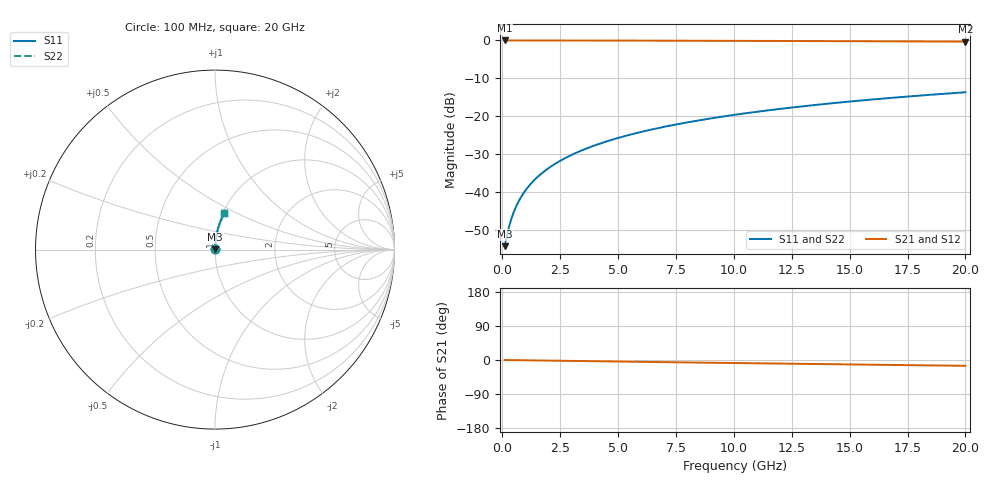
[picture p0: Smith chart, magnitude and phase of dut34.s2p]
! Touchstone file exported from HFSS 2024.1.0
!  File:  C:/UserFiles/LocalFiles/RDL_TSV_Batchsim/temp_RDL_top_34_1778680710.aedt
!  Generated:  10:00:57 PM May 13, 2026
!  Design:  RDL_top
!  Project:  temp_RDL_top_34_1778680710
!  Setup:  Setup1
!  Solution:  Sweep
! Variables:
!  dtsv = 10.80580581um
!  hbump = 3um
!  htsv = 96.11um
!  ldown = 100um
!  lrdl = 152.65um
!  p = 40
!  p1 = 47.12um
!  rhole = 1um
!  t = 450um
!  tdown = 3.915915916um
!  trdl = 3.24um
!  wdown = 15.38538539um
!  wrdl = 11.3um
# GHz S MA R 50.000000
! Terminal data exported
! Port[1] = Box2_T1
! Port[2] = Box2_T2
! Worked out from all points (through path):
!   200 points, 100 MHz to 20 GHz, reference 50 ohm
!   highest |S21| = -0.01 dB at 100 MHz (marker M1); lowest = -0.3 dB at 20 GHz (marker M2)
!   group delay of S21, straight-line fit = 2.13 ps
!   lowest |S11| = -54.1 dB at 100 MHz (marker M3), VSWR 1.00, Z = 50.2 + j0.107 ohm
!   |S11| at or under -10 dB: start of sweep to end of sweep
!   |S22| runs from -54.1 to -13.6 dB; largest |S21 - S12| = 2.7e-15
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0.1  0.001964 33.0  0.9984 -0.1  0.9984 -0.1  0.001964 33.0
! Gamma 0 0 0 0
! Port Impedance 50 0 50 0
0.2  0.002708 52.1  0.9983 -0.2  0.9983 -0.2  0.002708 52.1
0.3  0.003613 62.1  0.9983 -0.3  0.9983 -0.3  0.003613 62.1
0.4  0.004577 67.9  0.9983 -0.3  0.9983 -0.3  0.004577 67.9
0.5  0.005566 71.6  0.9982 -0.4  0.9982 -0.4  0.005566 71.6
0.6  0.006568 74.2  0.9982 -0.5  0.9982 -0.5  0.006568 74.2
0.8  0.008589 77.6  0.9981 -0.7  0.9981 -0.7  0.008589 77.6
1.1  0.01165 80.4  0.998 -0.9  0.998 -0.9  0.01165 80.4
1.5  0.01575 82.5  0.9978 -1.2  0.9978 -1.2  0.01575 82.5
1.8  0.01883 83.3  0.9977 -1.5  0.9977 -1.5  0.01883 83.3
2.1  0.02193 84.0  0.9975 -1.7  0.9975 -1.7  0.02193 83.9
2.7  0.02813 84.7  0.9971 -2.2  0.9971 -2.2  0.02813 84.7
3.5  0.03643 85.0  0.9964 -2.9  0.9964 -2.9  0.03643 85.0
4.2  0.04372 85.1  0.9957 -3.4  0.9957 -3.4  0.04372 85.1
5  0.05208 85.0  0.9947 -4.1  0.9947 -4.1  0.05208 85.0
5.9  0.06151 84.7  0.9935 -4.8  0.9935 -4.8  0.06151 84.7
6.8  0.07096 84.4  0.9922 -5.5  0.9922 -5.5  0.07096 84.4
8.3  0.08675 83.6  0.9897 -6.7  0.9897 -6.7  0.08675 83.6
10.1  0.1057 82.6  0.9864 -8.1  0.9864 -8.1  0.1057 82.6
13.4  0.1403 80.4  0.9797 -10.5  0.9797 -10.5  0.1403 80.4
16.7  0.1744 78.0  0.9722 -13.0  0.9722 -13.0  0.1744 78.0
20  0.2078 75.7  0.9641 -15.4  0.9641 -15.4  0.2078 75.7
